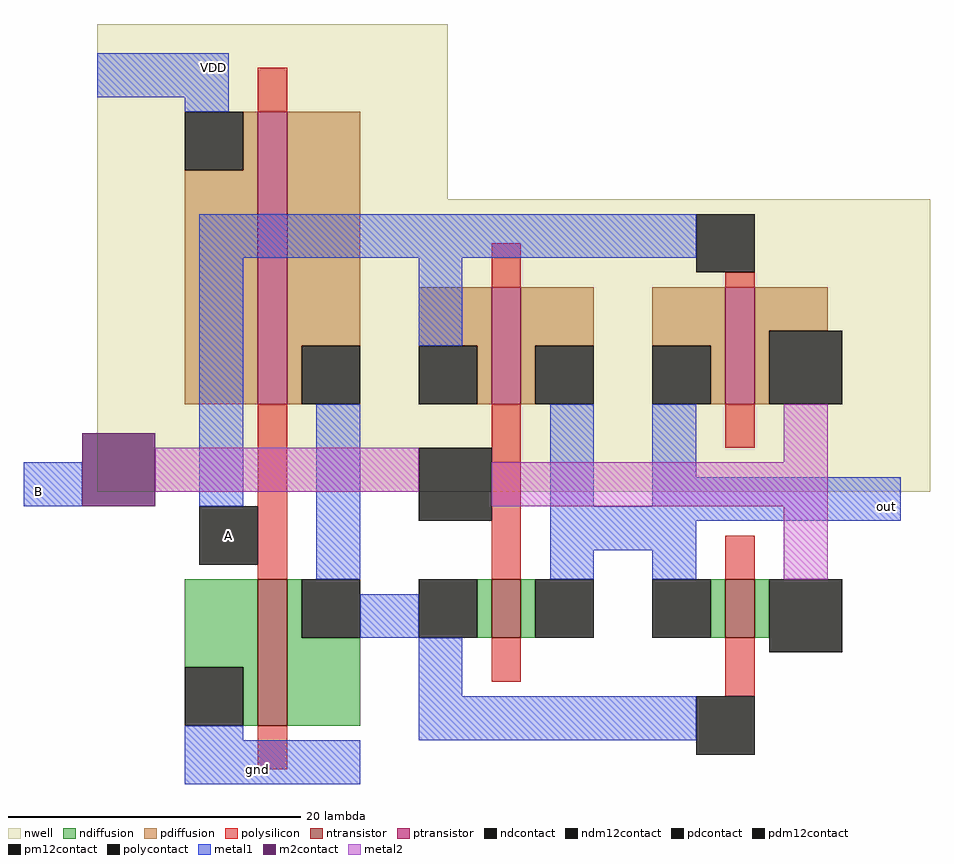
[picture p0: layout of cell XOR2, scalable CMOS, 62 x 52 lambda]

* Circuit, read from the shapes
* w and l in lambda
.subckt XOR2 A B VDD gnd out
M1 n1 A gnd VSUBS nfet w=10 l=2
M2 out B n1 VSUBS nfet w=4 l=2
M3 B n1 out VSUBS nfet w=4 l=2
M4 n1 A VDD n2 pfet w=20 l=2
M5 out B A n2 pfet w=8 l=2
M6 B A out n2 pfet w=8 l=2
.ends

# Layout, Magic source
magic
tech scmos
<< nwell >>
rect -57 -1 -33 11
rect -57 -21 0 -1
<< ntransistor >>
rect -46 -37 -44 -27
rect -30 -31 -28 -27
rect -14 -31 -12 -27
<< ptransistor >>
rect -46 -15 -44 5
rect -30 -15 -28 -7
rect -14 -15 -12 -7
<< ndiffusion >>
rect -51 -33 -46 -27
rect -47 -37 -46 -33
rect -44 -31 -43 -27
rect -31 -31 -30 -27
rect -28 -31 -27 -27
rect -15 -31 -14 -27
rect -12 -31 -11 -27
rect -44 -37 -39 -31
<< pdiffusion >>
rect -47 1 -46 5
rect -51 -15 -46 1
rect -44 -11 -39 5
rect -44 -15 -43 -11
rect -35 -11 -30 -7
rect -31 -15 -30 -11
rect -28 -11 -23 -7
rect -28 -15 -27 -11
rect -19 -11 -14 -7
rect -15 -15 -14 -11
rect -12 -10 -7 -7
rect -12 -15 -11 -10
<< ndcontact >>
rect -51 -37 -47 -33
rect -43 -31 -39 -27
rect -35 -31 -31 -27
rect -27 -31 -23 -27
rect -19 -31 -15 -27
<< pdcontact >>
rect -51 1 -47 5
rect -43 -15 -39 -11
rect -35 -15 -31 -11
rect -27 -15 -23 -11
rect -19 -15 -15 -11
<< polysilicon >>
rect -46 5 -44 8
rect -30 -7 -28 -4
rect -14 -7 -12 -6
rect -46 -27 -44 -15
rect -30 -27 -28 -15
rect -14 -18 -12 -15
rect -14 -27 -12 -24
rect -30 -34 -28 -31
rect -14 -35 -12 -31
rect -46 -40 -44 -37
<< polycontact >>
rect -16 -6 -12 -2
rect -50 -26 -46 -22
rect -16 -39 -12 -35
<< metal1 >>
rect -57 6 -48 9
rect -51 5 -48 6
rect -50 -5 -16 -2
rect -62 -22 -58 -19
rect -50 -22 -47 -5
rect -35 -11 -32 -5
rect -42 -27 -39 -15
rect -26 -22 -23 -15
rect -19 -20 -16 -15
rect -19 -22 -2 -20
rect -26 -23 -2 -22
rect -26 -25 -16 -23
rect -26 -27 -23 -25
rect -39 -31 -35 -28
rect -19 -27 -16 -25
rect -51 -38 -47 -37
rect -35 -35 -32 -31
rect -35 -38 -16 -35
rect -51 -41 -39 -38
<< m2contact >>
rect -58 -22 -53 -17
<< pm12contact >>
rect -35 -23 -30 -18
<< pdm12contact >>
rect -11 -15 -6 -10
<< ndm12contact >>
rect -11 -32 -6 -27
<< metal2 >>
rect -53 -21 -35 -18
rect -10 -19 -7 -15
rect -30 -22 -7 -19
rect -10 -27 -7 -22
<< labels >>
rlabel polycontact -48 -24 -48 -24 1 A
rlabel metal1 -61 -21 -61 -21 1 B
rlabel metal1 -3 -22 -3 -22 1 out
rlabel metal1 -49 8 -49 8 5 VDD
rlabel metal1 -46 -40 -46 -40 1 gnd
<< end >>
